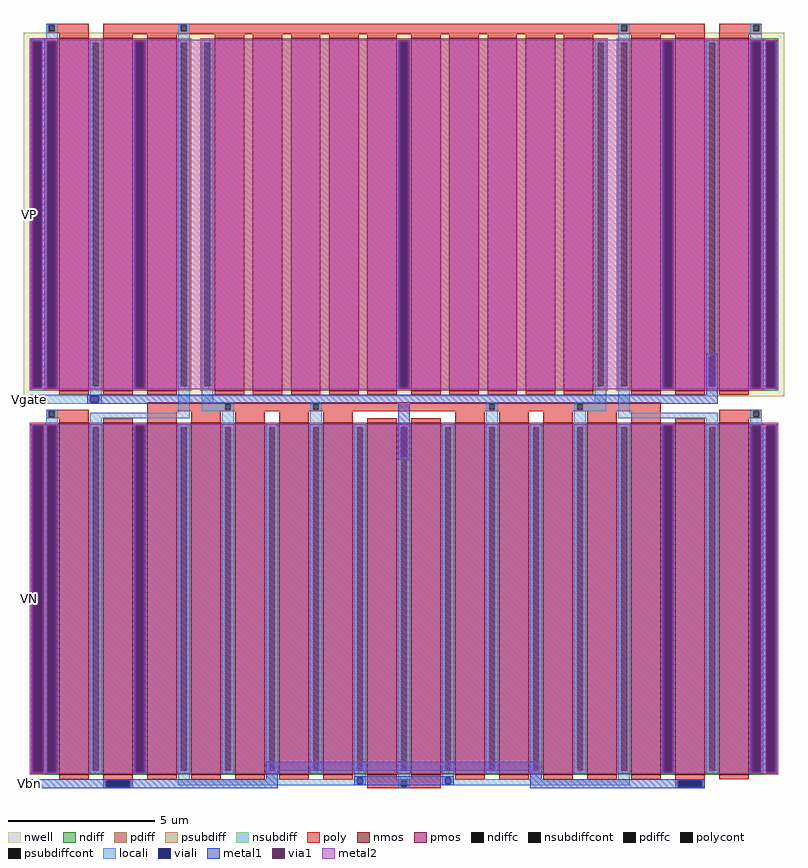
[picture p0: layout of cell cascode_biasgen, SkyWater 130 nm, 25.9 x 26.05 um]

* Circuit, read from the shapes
.subckt cascode_biasgen Vbn VN Vgate VP
XM1 n1 VN VN VN sky130_fd_pr__nfet_01v8 w=12 l=1 m=2
XM2 VN Vbn n1 VN sky130_fd_pr__nfet_01v8 w=12 l=1 m=2
XM3 n2 n3 VN VN sky130_fd_pr__nfet_01v8 w=12 l=1 m=2
XM4 n3 n3 n2 VN sky130_fd_pr__nfet_01v8 w=12 l=1 m=8
XM5 Vgate Vgate n2 VN sky130_fd_pr__nfet_01v8 w=12 l=1 m=2
XM6 Vgate VP VP VP sky130_fd_pr__pfet_01v8 w=12 l=1 m=2
XM7 VP n1 Vgate VP sky130_fd_pr__pfet_01v8 w=12 l=1 m=2
XM8 n1 n1 VP VP sky130_fd_pr__pfet_01v8 w=12 l=1 m=2
XM9 n4 n1 n3 VP sky130_fd_pr__pfet_01v8 w=12 l=1
XM10 n5 n1 n4 VP sky130_fd_pr__pfet_01v8 w=12 l=1
XM11 n6 n1 n5 VP sky130_fd_pr__pfet_01v8 w=12 l=1
XM12 n7 n1 n6 VP sky130_fd_pr__pfet_01v8 w=12 l=1
XM13 VP n1 n7 VP sky130_fd_pr__pfet_01v8 w=12 l=1
XM14 n8 n1 VP VP sky130_fd_pr__pfet_01v8 w=12 l=1
XM15 n9 n1 n8 VP sky130_fd_pr__pfet_01v8 w=12 l=1
XM16 n10 n1 n9 VP sky130_fd_pr__pfet_01v8 w=12 l=1
XM17 n11 n1 n10 VP sky130_fd_pr__pfet_01v8 w=12 l=1
XM18 n3 n1 n11 VP sky130_fd_pr__pfet_01v8 w=12 l=1
.ends

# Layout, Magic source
magic
tech sky130A
<< nwell >>
rect -120 2490 2470 3730
<< nmos >>
rect 0 1200 100 2400
rect 150 1200 250 2400
rect 300 1200 400 2400
rect 450 1200 550 2400
rect 600 1200 700 2400
rect 750 1200 850 2400
rect 900 1200 1000 2400
rect 1050 1200 1150 2400
rect 1200 1200 1300 2400
rect 1350 1200 1450 2400
rect 1500 1200 1600 2400
rect 1650 1200 1750 2400
rect 1800 1200 1900 2400
rect 1950 1200 2050 2400
rect 2100 1200 2200 2400
rect 2250 1200 2350 2400
<< pmos >>
rect 0 2510 100 3710
rect 150 2510 250 3710
rect 300 2510 400 3710
rect 530 2510 630 3710
rect 660 2510 760 3710
rect 790 2510 890 3710
rect 920 2510 1020 3710
rect 1050 2510 1150 3710
rect 1200 2510 1300 3710
rect 1330 2510 1430 3710
rect 1460 2510 1560 3710
rect 1590 2510 1690 3710
rect 1720 2510 1820 3710
rect 1950 2510 2050 3710
rect 2100 2510 2200 3710
rect 2250 2510 2350 3710
<< ndiff >>
rect -50 2385 0 2400
rect -50 1215 -40 2385
rect -15 1215 0 2385
rect -50 1200 0 1215
rect 100 2385 150 2400
rect 100 1215 115 2385
rect 135 1215 150 2385
rect 100 1200 150 1215
rect 250 2385 300 2400
rect 250 1215 265 2385
rect 285 1215 300 2385
rect 250 1200 300 1215
rect 400 2385 450 2400
rect 400 1215 415 2385
rect 435 1215 450 2385
rect 400 1200 450 1215
rect 550 2385 600 2400
rect 550 1215 565 2385
rect 585 1215 600 2385
rect 550 1200 600 1215
rect 700 2385 750 2400
rect 700 1215 715 2385
rect 735 1215 750 2385
rect 700 1200 750 1215
rect 850 2385 900 2400
rect 850 1215 865 2385
rect 885 1215 900 2385
rect 850 1200 900 1215
rect 1000 2385 1050 2400
rect 1000 1215 1015 2385
rect 1035 1215 1050 2385
rect 1000 1200 1050 1215
rect 1150 2385 1200 2400
rect 1150 1215 1165 2385
rect 1185 1215 1200 2385
rect 1150 1200 1200 1215
rect 1300 2385 1350 2400
rect 1300 1215 1315 2385
rect 1335 1215 1350 2385
rect 1300 1200 1350 1215
rect 1450 2385 1500 2400
rect 1450 1215 1465 2385
rect 1485 1215 1500 2385
rect 1450 1200 1500 1215
rect 1600 2385 1650 2400
rect 1600 1215 1615 2385
rect 1635 1215 1650 2385
rect 1600 1200 1650 1215
rect 1750 2385 1800 2400
rect 1750 1215 1765 2385
rect 1785 1215 1800 2385
rect 1750 1200 1800 1215
rect 1900 2385 1950 2400
rect 1900 1215 1915 2385
rect 1935 1215 1950 2385
rect 1900 1200 1950 1215
rect 2050 2385 2100 2400
rect 2050 1215 2065 2385
rect 2085 1215 2100 2385
rect 2050 1200 2100 1215
rect 2200 2385 2250 2400
rect 2200 1215 2215 2385
rect 2235 1215 2250 2385
rect 2200 1200 2250 1215
rect 2350 2385 2400 2400
rect 2350 1215 2365 2385
rect 2390 1215 2400 2385
rect 2350 1200 2400 1215
<< pdiff >>
rect -50 3695 0 3710
rect -50 2525 -40 3695
rect -15 2525 0 3695
rect -50 2510 0 2525
rect 100 3695 150 3710
rect 100 2525 115 3695
rect 135 2525 150 3695
rect 100 2510 150 2525
rect 250 3695 300 3710
rect 250 2525 265 3695
rect 285 2525 300 3695
rect 250 2510 300 2525
rect 400 3695 450 3710
rect 400 2525 415 3695
rect 435 2525 450 3695
rect 400 2510 450 2525
rect 480 3695 530 3710
rect 480 2525 495 3695
rect 515 2525 530 3695
rect 480 2510 530 2525
rect 630 2510 660 3710
rect 760 2510 790 3710
rect 890 2510 920 3710
rect 1020 2510 1050 3710
rect 1150 3695 1200 3710
rect 1150 2525 1165 3695
rect 1185 2525 1200 3695
rect 1150 2510 1200 2525
rect 1300 2510 1330 3710
rect 1430 2510 1460 3710
rect 1560 2510 1590 3710
rect 1690 2510 1720 3710
rect 1820 3695 1870 3710
rect 1820 2525 1835 3695
rect 1855 2525 1870 3695
rect 1820 2510 1870 2525
rect 1900 3695 1950 3710
rect 1900 2525 1915 3695
rect 1935 2525 1950 3695
rect 1900 2510 1950 2525
rect 2050 3695 2100 3710
rect 2050 2525 2065 3695
rect 2085 2525 2100 3695
rect 2050 2510 2100 2525
rect 2200 3695 2250 3710
rect 2200 2525 2215 3695
rect 2235 2525 2250 3695
rect 2200 2510 2250 2525
rect 2350 3695 2400 3710
rect 2350 2525 2365 3695
rect 2390 2525 2400 3695
rect 2350 2510 2400 2525
<< ndiffc >>
rect -40 1215 -15 2385
rect 115 1215 135 2385
rect 265 1215 285 2385
rect 415 1215 435 2385
rect 565 1215 585 2385
rect 715 1215 735 2385
rect 865 1215 885 2385
rect 1015 1215 1035 2385
rect 1165 1215 1185 2385
rect 1315 1215 1335 2385
rect 1465 1215 1485 2385
rect 1615 1215 1635 2385
rect 1765 1215 1785 2385
rect 1915 1215 1935 2385
rect 2065 1215 2085 2385
rect 2215 1215 2235 2385
rect 2365 1215 2390 2385
<< pdiffc >>
rect -40 2525 -15 3695
rect 115 2525 135 3695
rect 265 2525 285 3695
rect 415 2525 435 3695
rect 495 2525 515 3695
rect 1165 2525 1185 3695
rect 1835 2525 1855 3695
rect 1915 2525 1935 3695
rect 2065 2525 2085 3695
rect 2215 2525 2235 3695
rect 2365 2525 2390 3695
<< psubdiff >>
rect -100 2385 -50 2400
rect -100 1215 -85 2385
rect -60 1215 -50 2385
rect -100 1200 -50 1215
rect 2400 2385 2450 2400
rect 2400 1215 2410 2385
rect 2435 1215 2450 2385
rect 2400 1200 2450 1215
<< nsubdiff >>
rect -100 3695 -50 3710
rect -100 2525 -85 3695
rect -60 2525 -50 3695
rect -100 2510 -50 2525
rect 2400 3695 2450 3710
rect 2400 2525 2410 3695
rect 2435 2525 2450 3695
rect 2400 2510 2450 2525
<< psubdiffcont >>
rect -85 1215 -60 2385
rect 2410 1215 2435 2385
<< nsubdiffcont >>
rect -85 2525 -60 3695
rect 2410 2525 2435 3695
<< poly >>
rect -45 3755 100 3760
rect -45 3735 -35 3755
rect -15 3735 100 3755
rect -45 3730 100 3735
rect 0 3710 100 3730
rect 150 3755 2200 3760
rect 150 3735 415 3755
rect 435 3735 1915 3755
rect 1935 3735 2200 3755
rect 150 3725 2200 3735
rect 150 3710 250 3725
rect 300 3710 400 3725
rect 530 3710 630 3725
rect 660 3710 760 3725
rect 790 3710 890 3725
rect 920 3710 1020 3725
rect 1050 3710 1150 3725
rect 1200 3710 1300 3725
rect 1330 3710 1430 3725
rect 1460 3710 1560 3725
rect 1590 3710 1690 3725
rect 1720 3710 1820 3725
rect 1950 3710 2050 3725
rect 2100 3710 2200 3725
rect 2250 3755 2395 3760
rect 2250 3735 2365 3755
rect 2385 3735 2395 3755
rect 2250 3725 2395 3735
rect 2250 3710 2350 3725
rect 0 2495 100 2510
rect 150 2495 250 2510
rect 300 2495 400 2510
rect 530 2495 630 2510
rect 660 2495 760 2510
rect 790 2495 890 2510
rect 920 2495 1020 2510
rect 1050 2495 1150 2510
rect 1200 2495 1300 2510
rect 1330 2495 1430 2510
rect 1460 2495 1560 2510
rect 1590 2495 1690 2510
rect 1720 2495 1820 2510
rect 1950 2495 2050 2510
rect 2100 2495 2200 2510
rect 2250 2495 2350 2510
rect 300 2465 2050 2470
rect 300 2445 565 2465
rect 585 2445 865 2465
rect 885 2445 1465 2465
rect 1485 2445 1765 2465
rect 1785 2445 2050 2465
rect -45 2440 100 2445
rect -45 2420 -35 2440
rect -15 2420 100 2440
rect -45 2415 100 2420
rect 300 2440 2050 2445
rect 0 2400 100 2415
rect 150 2400 250 2415
rect 300 2400 400 2440
rect 450 2400 550 2440
rect 600 2400 700 2440
rect 750 2400 850 2440
rect 900 2400 1000 2440
rect 1050 2400 1150 2415
rect 1200 2400 1300 2415
rect 1350 2400 1450 2440
rect 1500 2400 1600 2440
rect 1650 2400 1750 2440
rect 1800 2400 1900 2440
rect 1950 2400 2050 2440
rect 2250 2440 2395 2445
rect 2250 2420 2365 2440
rect 2385 2420 2395 2440
rect 2250 2415 2395 2420
rect 2100 2400 2200 2415
rect 2250 2400 2350 2415
rect 0 1185 100 1200
rect 150 1180 250 1200
rect 300 1185 400 1200
rect 450 1185 550 1200
rect 600 1185 700 1200
rect 750 1185 850 1200
rect 900 1185 1000 1200
rect 1050 1185 1150 1200
rect 1200 1185 1300 1200
rect 1350 1185 1450 1200
rect 1500 1185 1600 1200
rect 1650 1185 1750 1200
rect 1800 1185 1900 1200
rect 1950 1185 2050 1200
rect 150 1160 160 1180
rect 240 1160 250 1180
rect 150 1155 250 1160
rect 1050 1180 1300 1185
rect 1050 1160 1165 1180
rect 1185 1160 1300 1180
rect 1050 1155 1300 1160
rect 2100 1180 2200 1200
rect 2250 1185 2350 1200
rect 2100 1160 2110 1180
rect 2190 1160 2200 1180
rect 2100 1155 2200 1160
<< polycont >>
rect -35 3735 -15 3755
rect 415 3735 435 3755
rect 1915 3735 1935 3755
rect 2365 3735 2385 3755
rect 565 2445 585 2465
rect 865 2445 885 2465
rect 1465 2445 1485 2465
rect 1765 2445 1785 2465
rect -35 2420 -15 2440
rect 2365 2420 2385 2440
rect 160 1160 240 1180
rect 1165 1160 1185 1180
rect 2110 1160 2190 1180
<< locali >>
rect -45 3755 -5 3760
rect -45 3735 -35 3755
rect -15 3735 -5 3755
rect -45 3705 -5 3735
rect 405 3755 445 3760
rect 405 3735 415 3755
rect 435 3735 445 3755
rect -95 3695 -5 3705
rect -95 2525 -85 3695
rect -60 2525 -40 3695
rect -15 2525 -5 3695
rect -95 2515 -5 2525
rect 105 3695 145 3705
rect 105 2525 115 3695
rect 135 2525 145 3695
rect 105 2495 145 2525
rect 255 3695 295 3705
rect 255 2525 265 3695
rect 285 2525 295 3695
rect 255 2515 295 2525
rect 405 3695 445 3735
rect 1905 3755 1945 3760
rect 1905 3735 1915 3755
rect 1935 3735 1945 3755
rect 405 2525 415 3695
rect 435 2525 445 3695
rect -100 2490 145 2495
rect -100 2470 105 2490
rect 135 2470 145 2490
rect -100 2465 145 2470
rect -45 2440 -5 2445
rect -45 2420 -35 2440
rect -15 2420 -5 2440
rect 405 2435 445 2525
rect 485 3695 525 3705
rect 485 2525 495 3695
rect 515 2525 525 3695
rect 485 2470 525 2525
rect 1155 3695 1195 3705
rect 1155 2525 1165 3695
rect 1185 2525 1195 3695
rect 1155 2515 1195 2525
rect 1825 3695 1865 3705
rect 1825 2525 1835 3695
rect 1855 2525 1865 3695
rect 1825 2470 1865 2525
rect 485 2465 595 2470
rect 485 2445 565 2465
rect 585 2445 595 2465
rect 485 2440 595 2445
rect -45 2395 -5 2420
rect -95 2385 -5 2395
rect -95 1215 -85 2385
rect -60 1215 -40 2385
rect -15 1215 -5 2385
rect -95 1205 -5 1215
rect 105 2415 445 2435
rect 105 2385 145 2415
rect 105 1215 115 2385
rect 135 1215 145 2385
rect 105 1205 145 1215
rect 255 2385 295 2395
rect 255 1215 265 2385
rect 285 1215 295 2385
rect 255 1205 295 1215
rect 405 2385 445 2395
rect 405 1215 415 2385
rect 435 1215 445 2385
rect 405 1185 445 1215
rect 555 2385 595 2440
rect 855 2465 895 2470
rect 855 2445 865 2465
rect 885 2445 895 2465
rect 555 1215 565 2385
rect 585 1215 595 2385
rect 555 1205 595 1215
rect 705 2385 745 2395
rect 705 1215 715 2385
rect 735 1215 745 2385
rect 705 1185 745 1215
rect 855 2385 895 2445
rect 1455 2465 1495 2470
rect 1455 2445 1465 2465
rect 1485 2445 1495 2465
rect 855 1215 865 2385
rect 885 1215 895 2385
rect 855 1205 895 1215
rect 1005 2385 1045 2395
rect 1005 1215 1015 2385
rect 1035 1215 1045 2385
rect 1005 1190 1045 1215
rect 1005 1185 1015 1190
rect 150 1180 250 1185
rect 150 1160 160 1180
rect 240 1160 250 1180
rect 405 1170 1015 1185
rect 1035 1170 1045 1190
rect 405 1165 1045 1170
rect 1155 2385 1195 2395
rect 1155 1215 1165 2385
rect 1185 1215 1195 2385
rect 1155 1180 1195 1215
rect 150 1155 250 1160
rect 1155 1160 1165 1180
rect 1185 1160 1195 1180
rect 1305 2385 1345 2395
rect 1305 1215 1315 2385
rect 1335 1215 1345 2385
rect 1305 1190 1345 1215
rect 1455 2385 1495 2445
rect 1755 2465 1865 2470
rect 1755 2445 1765 2465
rect 1785 2445 1865 2465
rect 1755 2440 1865 2445
rect 1905 3695 1945 3735
rect 2355 3755 2395 3760
rect 2355 3735 2365 3755
rect 2385 3735 2395 3755
rect 2355 3705 2395 3735
rect 1905 2525 1915 3695
rect 1935 2525 1945 3695
rect 1455 1215 1465 2385
rect 1485 1215 1495 2385
rect 1455 1205 1495 1215
rect 1605 2385 1645 2395
rect 1605 1215 1615 2385
rect 1635 1215 1645 2385
rect 1305 1170 1315 1190
rect 1335 1185 1345 1190
rect 1605 1185 1645 1215
rect 1755 2385 1795 2440
rect 1905 2435 1945 2525
rect 2055 3695 2095 3705
rect 2055 2525 2065 3695
rect 2085 2525 2095 3695
rect 2055 2515 2095 2525
rect 2205 3695 2245 3705
rect 2205 2525 2215 3695
rect 2235 2525 2245 3695
rect 2205 2515 2245 2525
rect 2355 3695 2445 3705
rect 2355 2525 2365 3695
rect 2390 2525 2410 3695
rect 2435 2525 2445 3695
rect 2355 2515 2445 2525
rect 2355 2440 2395 2445
rect 1905 2415 2245 2435
rect 1755 1215 1765 2385
rect 1785 1215 1795 2385
rect 1755 1205 1795 1215
rect 1905 2385 1945 2395
rect 1905 1215 1915 2385
rect 1935 1215 1945 2385
rect 1905 1185 1945 1215
rect 2055 2385 2095 2395
rect 2055 1215 2065 2385
rect 2085 1215 2095 2385
rect 2055 1205 2095 1215
rect 2205 2385 2245 2415
rect 2205 1215 2215 2385
rect 2235 1215 2245 2385
rect 2205 1205 2245 1215
rect 2355 2420 2365 2440
rect 2385 2420 2395 2440
rect 2355 2395 2395 2420
rect 2355 2385 2445 2395
rect 2355 1215 2365 2385
rect 2390 1215 2410 2385
rect 2435 1215 2445 2385
rect 2355 1205 2445 1215
rect 1335 1170 1945 1185
rect 1305 1165 1945 1170
rect 2100 1180 2200 1185
rect 1155 1155 1195 1160
rect 2100 1160 2110 1180
rect 2190 1160 2200 1180
rect 2100 1155 2200 1160
<< viali >>
rect -85 2525 -60 3695
rect -40 2525 -15 3695
rect 265 2525 285 3695
rect 105 2470 135 2490
rect 1165 2525 1185 3695
rect -85 1215 -60 2385
rect -40 1215 -15 2385
rect 265 1215 285 2385
rect 160 1160 240 1180
rect 1015 1170 1035 1190
rect 1165 2285 1185 2385
rect 1315 1170 1335 1190
rect 2065 2525 2085 3695
rect 2215 2525 2235 2625
rect 2365 2525 2390 3695
rect 2410 2525 2435 3695
rect 2065 1215 2085 2385
rect 2365 1215 2390 2385
rect 2410 1215 2435 2385
rect 2110 1160 2190 1180
<< metal1 >>
rect -95 3700 -5 3710
rect -95 2520 -90 3700
rect -60 2520 -40 3700
rect -10 2520 -5 3700
rect -95 2515 -5 2520
rect 255 3700 295 3705
rect 255 2520 260 3700
rect 290 2520 295 3700
rect 255 2515 295 2520
rect 1155 3700 1195 3705
rect 1155 2520 1160 3700
rect 1190 2520 1195 3700
rect 1155 2515 1195 2520
rect 2055 3700 2095 3705
rect 2055 2520 2060 3700
rect 2090 2520 2095 3700
rect 2355 3700 2445 3705
rect 2055 2515 2095 2520
rect 2205 2625 2245 2635
rect 2205 2525 2215 2625
rect 2235 2525 2245 2625
rect 2205 2495 2245 2525
rect 2355 2520 2360 3700
rect 2390 2520 2410 3700
rect 2440 2520 2445 3700
rect 2355 2515 2445 2520
rect 95 2490 2245 2495
rect 95 2470 105 2490
rect 135 2470 2245 2490
rect 95 2465 2245 2470
rect -95 2390 -5 2395
rect -95 1210 -90 2390
rect -55 1210 -40 2390
rect -10 1210 -5 2390
rect -95 1205 -5 1210
rect 255 2390 295 2395
rect 255 1210 260 2390
rect 290 1210 295 2390
rect 1155 2385 1195 2465
rect 1155 2285 1165 2385
rect 1185 2285 1195 2385
rect 1155 2275 1195 2285
rect 2055 2390 2095 2395
rect 255 1205 295 1210
rect 705 1215 1645 1245
rect 705 1185 745 1215
rect -100 1180 745 1185
rect -100 1160 160 1180
rect 240 1160 745 1180
rect 1005 1190 1345 1195
rect 1005 1170 1015 1190
rect 1035 1170 1315 1190
rect 1335 1170 1345 1190
rect 1005 1165 1345 1170
rect 1605 1185 1645 1215
rect 2055 1210 2060 2390
rect 2090 1210 2095 2390
rect 2055 1205 2095 1210
rect 2355 2390 2445 2395
rect 2355 1210 2360 2390
rect 2390 1210 2410 2390
rect 2440 1210 2445 2390
rect 2355 1205 2445 1210
rect 1605 1180 2200 1185
rect -100 1155 745 1160
rect 1605 1160 2110 1180
rect 2190 1160 2200 1180
rect 1605 1155 2200 1160
<< via1 >>
rect -90 3695 -60 3700
rect -90 2525 -85 3695
rect -85 2525 -60 3695
rect -90 2520 -60 2525
rect -40 3695 -10 3700
rect -40 2525 -15 3695
rect -15 2525 -10 3695
rect -40 2520 -10 2525
rect 260 3695 290 3700
rect 260 2525 265 3695
rect 265 2525 285 3695
rect 285 2525 290 3695
rect 260 2520 290 2525
rect 1160 3695 1190 3700
rect 1160 2525 1165 3695
rect 1165 2525 1185 3695
rect 1185 2525 1190 3695
rect 1160 2520 1190 2525
rect 2060 3695 2090 3700
rect 2060 2525 2065 3695
rect 2065 2525 2085 3695
rect 2085 2525 2090 3695
rect 2060 2520 2090 2525
rect 2360 3695 2390 3700
rect 2360 2525 2365 3695
rect 2365 2525 2390 3695
rect 2360 2520 2390 2525
rect 2410 3695 2440 3700
rect 2410 2525 2435 3695
rect 2435 2525 2440 3695
rect 2410 2520 2440 2525
rect -90 2385 -55 2390
rect -90 1215 -85 2385
rect -85 1215 -60 2385
rect -60 1215 -55 2385
rect -90 1210 -55 1215
rect -40 2385 -10 2390
rect -40 1215 -15 2385
rect -15 1215 -10 2385
rect -40 1210 -10 1215
rect 260 2385 290 2390
rect 260 1215 265 2385
rect 265 1215 285 2385
rect 285 1215 290 2385
rect 260 1210 290 1215
rect 2060 2385 2090 2390
rect 2060 1215 2065 2385
rect 2065 1215 2085 2385
rect 2085 1215 2090 2385
rect 2060 1210 2090 1215
rect 2360 2385 2390 2390
rect 2360 1215 2365 2385
rect 2365 1215 2390 2385
rect 2360 1210 2390 1215
rect 2410 2385 2440 2390
rect 2410 1215 2435 2385
rect 2435 1215 2440 2385
rect 2410 1210 2440 1215
<< metal2 >>
rect -95 3705 -5 3710
rect -100 3700 2450 3705
rect -100 2520 -90 3700
rect -60 2520 -40 3700
rect -10 2520 260 3700
rect 290 2520 1160 3700
rect 1190 2520 2060 3700
rect 2090 2520 2360 3700
rect 2390 2520 2410 3700
rect 2440 2520 2450 3700
rect -100 2515 2450 2520
rect -100 2390 2450 2395
rect -100 1210 -90 2390
rect -55 1210 -40 2390
rect -10 1210 260 2390
rect 290 1210 2060 2390
rect 2090 1210 2360 2390
rect 2390 1210 2410 2390
rect 2440 1210 2450 2390
rect -100 1205 2450 1210
<< labels >>
rlabel metal1 -100 1170 -100 1170 7 Vbn
port 1 w
rlabel metal2 -100 1800 -100 1800 7 VN
port 2 w
rlabel locali -100 2480 -100 2480 7 Vgate
port 3 w
rlabel metal2 -100 3110 -100 3110 7 VP
port 4 w
<< end >>
